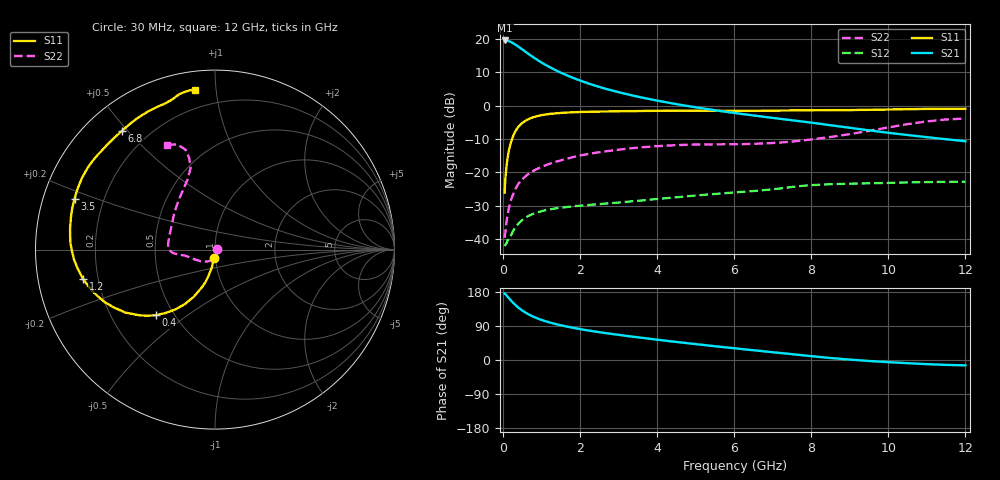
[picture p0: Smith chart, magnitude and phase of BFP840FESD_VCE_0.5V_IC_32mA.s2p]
! Infineon Technologies  Discrete & RF Semiconductors
! BFP840FESD
! VCE =  0.5 V,  IC =  32 mA
! Common Emitter S-Parameters:  May 2012
# GHz  S  MA  R  50
!  f  S11  S21  S12  S22
! GHz  MAG  ANG  MAG  ANG  MAG  ANG  MAG  ANG
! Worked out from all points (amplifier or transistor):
!   103 points, 30 MHz to 12 GHz, reference 50 ohm
!   highest |S21| = 19.6 dB at 40 MHz (marker M1)
!   |S21| within 3 dB of that: start of sweep to 526.5 MHz
!   unconditionally stable (mu >= 1): start of sweep to end of sweep
!   at 400 MHz: K = 2.93, MAG = 18.9 dB, |S12| = -35.3 dB
!   at 3.7 GHz: K = 2.97, MAG = 7.7 dB, |S12| = -28.3 dB
!   at 12 GHz: K = 3.20, MAG = -1.9 dB, |S12| = -22.8 dB
!   S11 on the Smith chart (normalised r, x): 30 MHz: 0.98, -0.10; 400 MHz: 0.40, -0.38; 1.2 GHz: 0.14, -0.11; 3.5 GHz: 0.09, +0.17; 6.8 GHz: 0.11, +0.48; 12 GHz: 0.10, +0.88
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0.03  0.0494 -96.7  9.525 175.4  0.0078 17.9  0.0104 31.5
0.04  0.0646 -97.9  9.535 174.2  0.008 15.2  0.0117 12.8
0.05  0.0805 -99.4  9.523 174.3  0.0082 15.4  0.0125 -2.6
0.13  0.1952 -107.0  9.33 164.4  0.0101 26.5  0.0268 -60.7
0.2  0.2894 -114.3  8.979 156.4  0.0114 33.7  0.0391 -82.1
0.25  0.3489 -119.1  8.682 151.0  0.0132 37.6  0.0468 -93.1
0.35  0.4496 -128.1  7.975 141.4  0.0159 38.2  0.0619 -108.5
0.4  0.4915 -132.0  7.619 137.2  0.0172 38.7  0.0688 -114.3
0.5  0.5581 -139.0  6.926 129.7  0.0195 38.1  0.0798 -123.8
0.7  0.6481 -150.1  5.716 117.9  0.0229 35.6  0.0985 -138.4
0.9  0.7036 -158.4  4.792 109.0  0.0252 33.0  0.1144 -148.5
1.2  0.7524 -167.3  3.797 99.1  0.0278 30.6  0.1344 -158.1
1.6  0.7871 -175.8  2.94 89.2  0.0299 28.9  0.1578 -165.8
2.1  0.8077 176.2  2.265 79.6  0.0319 28.5  0.1837 -170.2
2.7  0.8198 168.8  1.765 70.4  0.0342 29.0  0.2084 -172.8
3.5  0.8323 160.1  1.364 59.8  0.0375 30.6  0.2348 -175.5
4.1  0.8394 153.9  1.162 52.3  0.0403 31.4  0.2492 -178.1
6.1  0.8377 135.2  0.765 29.9  0.0504 30.9  0.265 164.5
6.8  0.8408 127.9  0.678 22.5  0.0544 30.8  0.2721 154.2
8.5  0.8579 112.1  0.509 5.2  0.0664 23.6  0.3396 127.0
10.5  0.8882 103.0  0.363 -8.4  0.0706 16.9  0.5295 105.7
12  0.8975 97.2  0.293 -14.1  0.0723 15.0  0.6426 114.7
